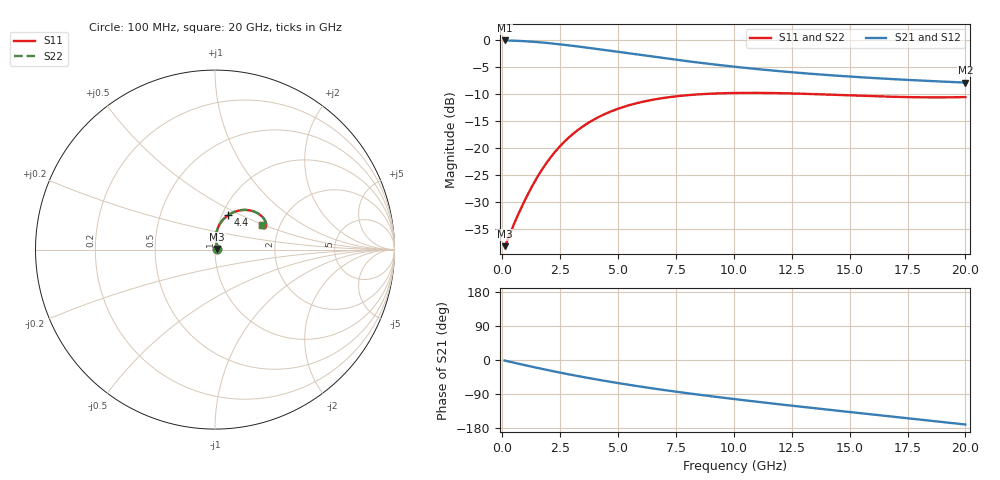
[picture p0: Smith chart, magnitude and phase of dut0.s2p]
! Touchstone file exported from HFSS 2024.1.0
!  File:  C:/UserFiles/LocalFiles/RDL_TSV_Batchsim/temp_RDL_TSV_0_1779394976.aedt
!  Generated:  05:00:16 AM May 22, 2026
!  Design:  RDL_TSV
!  Project:  temp_RDL_TSV_0_1779394976
!  Setup:  Setup1
!  Solution:  Sweep
! Variables:
!  dtsv = 5.08um
!  hbump = 3um
!  htsv = 99.49um
!  ldown = 417.9um
!  lrdl = 212.83um
!  p = 40
!  p1 = 51.03um
!  rhole = 10um
!  subl = 2105.02um
!  t = 450um
!  tdown = 3.07um
!  trdl = 4.34um
!  viad = 10um
!  wdown = 26.94um
!  wrdl = 14.63um
!  xbump = 18um
# GHz S MA R 50.000000
! Terminal data exported
! Port[1] = TM1_1_T1
! Port[2] = TM1_4_T1
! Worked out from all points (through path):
!   200 points, 100 MHz to 20 GHz, reference 50 ohm
!   highest |S21| = -0.13 dB at 100 MHz (marker M1); lowest = -7.9 dB at 20 GHz (marker M2)
!   group delay of S21, straight-line fit = 22.3 ps
!   lowest |S11| = -38.2 dB at 100 MHz (marker M3), VSWR 1.02, Z = 51.2 + j0.337 ohm
!   |S11| at or under -10 dB: start of sweep to 8.927 GHz; 13 GHz to end of sweep
!   |S22| runs from -38.3 to -9.8 dB; largest |S21 - S12| = 2.3e-14
!   S11 on the Smith chart (normalised r, x): 100 MHz: 1.02, +0.01; 4.4 GHz: 1.07, +0.42; 20 GHz: 1.62, +0.48
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0.1  0.01226 15.6  0.9855 -1.5  0.9855 -1.5  0.0122 15.4
! Gamma 0 0 0 0
! Port Impedance 50 0 50 0
0.2  0.01356 28.6  0.9845 -2.9  0.9845 -2.9  0.01346 28.3
0.6  0.02191 58.6  0.9785 -8.5  0.9785 -8.5  0.02159 58.5
0.9  0.03021 71.0  0.9717 -12.6  0.9717 -12.6  0.02974 71.2
1.3  0.04448 80.5  0.9596 -18.0  0.9596 -18.0  0.0439 80.9
1.7  0.06208 84.5  0.9442 -23.3  0.9442 -23.3  0.06148 85.1
2.1  0.08214 85.3  0.9265 -28.4  0.9265 -28.4  0.08157 85.8
2.5  0.1037 84.1  0.9071 -33.3  0.9071 -33.3  0.1032 84.6
3  0.1314 81.1  0.8811 -39.3  0.8811 -39.3  0.131 81.5
3.5  0.1587 77.1  0.8542 -45.0  0.8542 -45.0  0.1583 77.5
4.4  0.2038 69.3  0.8051 -54.8  0.8051 -54.8  0.2035 69.7
5.5  0.2485 60.0  0.7468 -65.8  0.7468 -65.8  0.2484 60.3
6.8  0.2856 50.4  0.6839 -77.6  0.6839 -77.6  0.2856 50.6
7.6  0.3009 45.3  0.6491 -84.4  0.6491 -84.4  0.3009 45.5
8.4  0.3115 40.8  0.6175 -90.9  0.6175 -90.9  0.3115 41.0
10.1  0.3218 33.3  0.5606 -103.7  0.5606 -103.7  0.3218 33.4
11.7  0.3211 28.2  0.5182 -115.0  0.5182 -115.0  0.3212 28.4
13.4  0.3143 24.9  0.4828 -126.6  0.4828 -126.6  0.3144 25.0
15  0.3055 23.5  0.4564 -137.2  0.4564 -137.2  0.3056 23.6
16.7  0.2972 23.6  0.434 -148.4  0.434 -148.4  0.2974 23.7
18.3  0.293 25.0  0.4167 -159.0  0.4167 -159.0  0.2932 25.2
20  0.2946 27.3  0.4012 -170.2  0.4012 -170.2  0.2948 27.4
